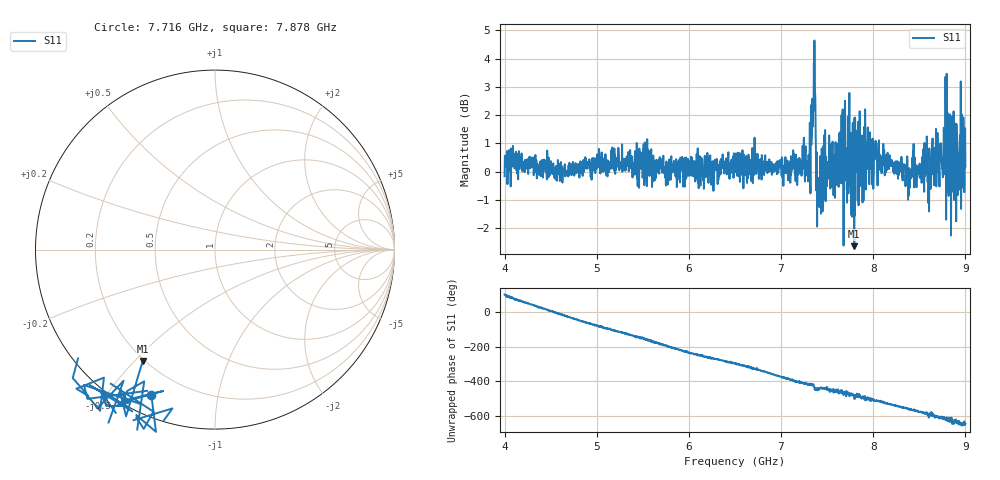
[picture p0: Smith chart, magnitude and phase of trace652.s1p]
! Created with skrf 1.8.0 (http://scikit-rf.org).
# Hz S RI R 50.0
!freq ReS11 ImS11
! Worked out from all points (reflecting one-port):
!   1601 points, 4 GHz to 9 GHz, reference 50 ohm
!   lowest |S11| = -2.6 dB at 7.794 GHz (marker M1), VSWR 6.67, Z = 9.65 - j26.4 ohm
!   phase of S11 starts at 104 deg and turns -751 deg over the sweep
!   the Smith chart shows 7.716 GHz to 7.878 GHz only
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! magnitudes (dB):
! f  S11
! 4 GHz  -0.2
! 4.094 GHz  0.3
! 4.625 GHz  -0.3
! 5.25 GHz  0.3
! 5.875 GHz  -0.3
! 6.5 GHz  0.4
! 7.125 GHz  0.2
! 7.294 GHz  -0.3
! 7.35 GHz  2.1
! 7.369 GHz  2.8
! 7.397 GHz  -0.8
! 7.412 GHz  -0.7
! 7.453 GHz  -0.4
! 7.591 GHz  1.0
! 7.647 GHz  0.9
! 7.75 GHz  0.6
! 7.794 GHz  -2.6
! 7.928 GHz  1.0
! 7.981 GHz  0.2
! 8.038 GHz  0.5
! 8.375 GHz  -0.2
! 8.562 GHz  0.2
! 8.612 GHz  0.5
! 8.656 GHz  0.4
! 8.809 GHz  1.2
! 8.869 GHz  -0.6
! 8.959 GHz  2.0
! 9 GHz  0.2
